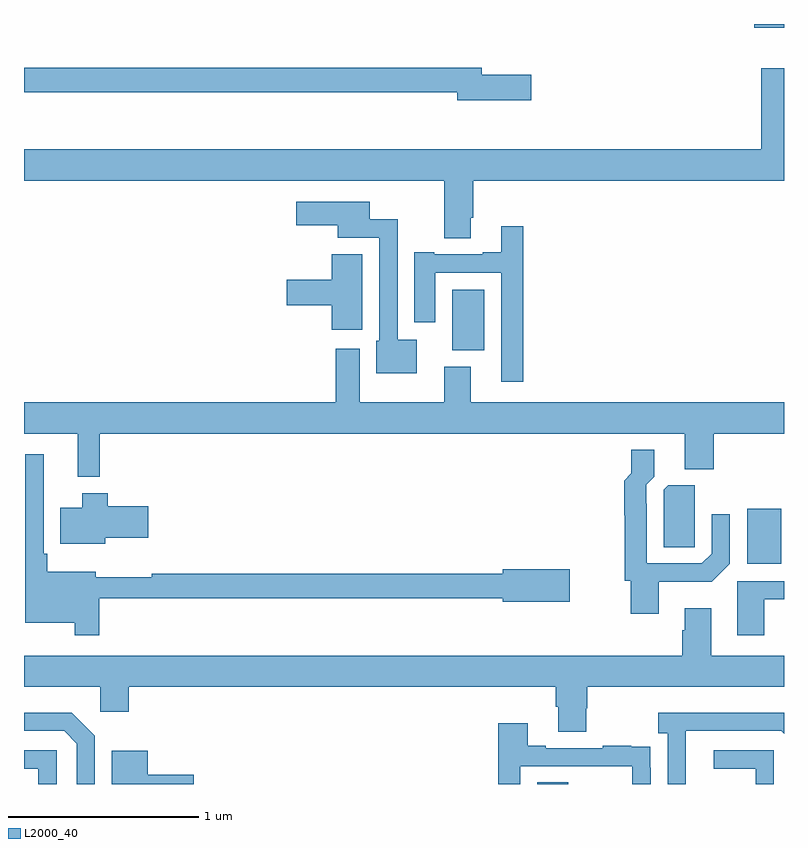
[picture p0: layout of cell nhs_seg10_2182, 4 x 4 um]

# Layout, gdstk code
import gdstk
lib = gdstk.Library(unit=1e-6, precision=1e-09)
def R(c, l, rs):  # rectangles x0, y0, x1, y1
    for r in rs: c.add(gdstk.rectangle(r[:2], r[2:], *l))
def P(c, l, *ps):  # polygons
    for p in ps: c.add(gdstk.Polygon(p, *l))
L2000_40 = (2000, 40)

nhs_seg10_2182 = lib.new_cell('nhs_seg10_2182')
R(nhs_seg10_2182, L2000_40, [(229.7,1270.5,229.864,1270.508), (230.807,1271.66,230.986,1271.95), (229.253,1272.782,229.423,1273.102), (230.844,1274.48,231,1274.5)])
P(nhs_seg10_2182, L2000_40, [(229.669,1274.234),(229.408,1274.234),(229.408,1274.27),(227,1274.27),(227,1274.142),(229.28,1274.142),(229.28,1274.099),(229.669,1274.099)],
  [(229.351,1273.48),(229.364,1273.48),(229.364,1273.676),(231,1273.676),(231,1274.266),(230.879,1274.266),(230.879,1273.84),(227,1273.84),(227,1273.676),(229.211,1273.676),(229.211,1273.372),(229.351,1273.372)],
  [(229.066,1272.838),(228.966,1272.838),(228.966,1273.472),(228.82,1273.472),(228.82,1273.564),(228.432,1273.564),(228.432,1273.442),(228.65,1273.442),(228.65,1273.374),(228.87,1273.374),(228.87,1272.834),(228.854,1272.834),(228.854,1272.662),(229.066,1272.662)],
  [(229.628,1273.435),(229.511,1273.435),(229.511,1273.3),(229.415,1273.3),(229.415,1273.287),(229.159,1273.287),(229.159,1273.3),(229.055,1273.3),(229.055,1272.93),(229.165,1272.93),(229.165,1273.191),(229.512,1273.191),(229.512,1272.618),(229.628,1272.618)],
  [(228.781,1273.289),(228.62,1273.289),(228.62,1273.153),(228.384,1273.153),(228.384,1273.019),(228.62,1273.019),(228.62,1272.891),(228.781,1272.891)],
  [(227.399,1272.344),(230.477,1272.344),(230.477,1272.157),(230.63,1272.157),(230.63,1272.344),(231,1272.344),(231,1272.508),(229.351,1272.508),(229.351,1272.697),(229.211,1272.697),(229.211,1272.508),(228.766,1272.508),(228.766,1272.79),(228.641,1272.79),(228.641,1272.508),(227,1272.508),(227,1272.344),(227.282,1272.344),(227.282,1272.116),(227.399,1272.116)],
  [(230.341,1271.564),(230.621,1271.564),(230.715,1271.658),(230.715,1271.92),(230.619,1271.92),(230.619,1271.712),(230.568,1271.661),(230.277,1271.661),(230.277,1271.975),(230.274,1271.975),(230.274,1272.075),(230.317,1272.118),(230.317,1272.259),(230.197,1272.259),(230.197,1272.135),(230.159,1272.096),(230.159,1271.914),(230.161,1271.914),(230.161,1271.571),(230.194,1271.571),(230.194,1271.397),(230.341,1271.397)],
  [(227.396,1271.478),(229.52,1271.478),(229.52,1271.459),(229.873,1271.459),(229.873,1271.63),(229.52,1271.63),(229.52,1271.606),(227.673,1271.606),(227.673,1271.588),(227.377,1271.588),(227.377,1271.617),(227.123,1271.617),(227.123,1271.713),(227.103,1271.713),(227.103,1272.235),(227.006,1272.235),(227.006,1271.348),(227.268,1271.348),(227.268,1271.283),(227.396,1271.283)],
  [(230.529,1271.857),(230.53,1271.857),(230.53,1272.072),(230.391,1272.072),(230.367,1272.048),(230.367,1271.746),(230.529,1271.746)],
  [(227.428,1271.795),(227.653,1271.795),(227.653,1271.961),(227.441,1271.961),(227.441,1272.031),(227.306,1272.031),(227.306,1271.953),(227.192,1271.953),(227.192,1271.765),(227.428,1271.765)],
  [(230.896,1271.472),(231,1271.472),(231,1271.568),(230.753,1271.568),(230.753,1271.283),(230.896,1271.283)],
  [(229.959,1270.899),(229.964,1270.899),(229.964,1271.012),(231,1271.012),(231,1271.176),(230.617,1271.176),(230.617,1271.425),(230.477,1271.425),(230.477,1271.309),(230.465,1271.309),(230.465,1271.176),(227,1271.176),(227,1271.012),(227.4,1271.012),(227.4,1270.881),(227.552,1270.881),(227.552,1271.012),(229.799,1271.012),(229.799,1270.906),(229.811,1270.906),(229.811,1270.774),(229.959,1270.774)],
  [(230.484,1270.779),(230.985,1270.779),(231,1270.764),(231,1270.876),(230.337,1270.876),(230.337,1270.766),(230.388,1270.766),(230.388,1270.5),(230.484,1270.5)],
  [(227.373,1270.755),(227.252,1270.876),(227,1270.876),(227,1270.779),(227.211,1270.779),(227.277,1270.713),(227.277,1270.5),(227.373,1270.5)],
  [(229.611,1270.593),(230.202,1270.593),(230.202,1270.5),(230.298,1270.5),(230.298,1270.586),(230.297,1270.586),(230.297,1270.695),(230.195,1270.695),(230.195,1270.702),(230.047,1270.702),(230.047,1270.689),(229.747,1270.689),(229.747,1270.702),(229.651,1270.702),(229.651,1270.819),(229.495,1270.819),(229.495,1270.5),(229.611,1270.5)],
  [(230.946,1270.677),(230.631,1270.677),(230.631,1270.581),(230.85,1270.581),(230.85,1270.5),(230.946,1270.5)],
  [(227.172,1270.677),(227,1270.677),(227,1270.581),(227.076,1270.581),(227.076,1270.5),(227.172,1270.5)],
  [(227.893,1270.548),(227.65,1270.548),(227.65,1270.675),(227.462,1270.675),(227.462,1270.5),(227.893,1270.5)])

lib.write_gds('nhs_seg10_2182.gds')
